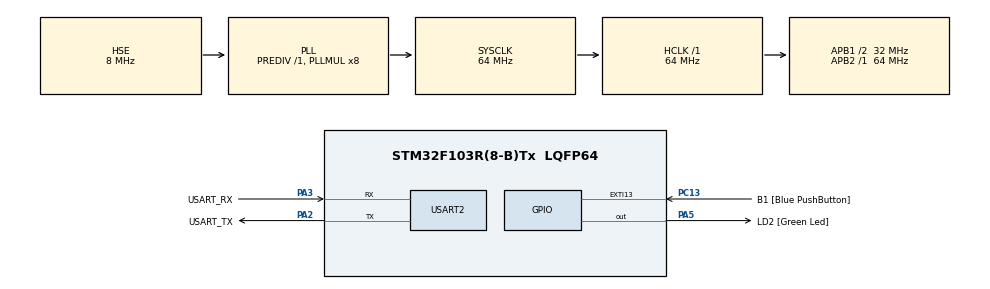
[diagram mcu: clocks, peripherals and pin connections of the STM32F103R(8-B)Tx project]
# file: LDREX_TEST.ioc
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Mcu.Family=STM32F1
Mcu.Name=STM32F103R(8-B)Tx
Mcu.Package=LQFP64
NVIC.EXTI15_10_IRQn=true\:0\:0\:false\:false\:true\:true\:true
NVIC.PriorityGroup=NVIC_PRIORITYGROUP_4
NVIC.TIM4_IRQn=true\:1\:0\:true\:false\:true\:true\:true
PA13.GPIO_Label=TMS
PA13.Mode=Serial_Wire
PA13.Signal=SYS_JTMS-SWDIO
PA14.GPIO_Label=TCK
PA14.Mode=Serial_Wire
PA14.Signal=SYS_JTCK-SWCLK
PA2.GPIO_Label=USART_TX
PA2.GPIO_Mode=GPIO_MODE_AF_PP
PA2.GPIO_PuPd=GPIO_NOPULL
PA2.GPIO_Speed=GPIO_SPEED_FREQ_LOW
PA2.Mode=Asynchronous
PA2.Signal=USART2_TX
PA3.GPIO_Label=USART_RX
PA3.GPIO_Mode=GPIO_MODE_AF_PP
PA3.GPIO_PuPd=GPIO_NOPULL
PA3.GPIO_Speed=GPIO_SPEED_FREQ_LOW
PA3.Mode=Asynchronous
PA3.Signal=USART2_RX
PA5.GPIO_Label=LD2 [Green Led]
PA5.GPIO_ModeDefaultOutputPP=GPIO_MODE_OUTPUT_PP
PA5.GPIO_PuPd=GPIO_NOPULL
PA5.GPIO_Speed=GPIO_SPEED_FREQ_LOW
PA5.Signal=GPIO_Output
PB3.GPIO_Label=SWO
PB3.Signal=SYS_JTDO-TRACESWO
PC13-TAMPER-RTC.GPIO_Label=B1 [Blue PushButton]
PC13-TAMPER-RTC.GPIO_PuPd=GPIO_NOPULL
PC13-TAMPER-RTC.Signal=GPXTI13
PC14-OSC32_IN.Mode=LSE-External-Oscillator
PC14-OSC32_IN.Signal=RCC_OSC32_IN
PC15-OSC32_OUT.Mode=LSE-External-Oscillator
PC15-OSC32_OUT.Signal=RCC_OSC32_OUT
PD0-OSC_IN.Mode=HSE-External-Clock-Source
PD0-OSC_IN.Signal=RCC_OSC_IN
PD1-OSC_OUT.Mode=HSE-External-Clock-Source
PD1-OSC_OUT.Signal=RCC_OSC_OUT
ProjectManager.HeapSize=0x200
ProjectManager.StackSize=0x400
ProjectManager.TargetToolchain=MDK-ARM V5.27
RCC.AHBFreq_Value=64000000
RCC.APB1CLKDivider=RCC_HCLK_DIV2
RCC.APB1Freq_Value=32000000
RCC.APB1TimFreq_Value=64000000
RCC.APB2Freq_Value=64000000
RCC.APB2TimFreq_Value=64000000
RCC.HCLKFreq_Value=64000000
RCC.PLLMUL=RCC_PLL_MUL8
RCC.PLLSourceVirtual=RCC_PLLSOURCE_HSE
RCC.RTCClockSelection=RCC_RTCCLKSOURCE_LSE
RCC.SYSCLKFreq_VALUE=64000000
RCC.SYSCLKSource=RCC_SYSCLKSOURCE_PLLCLK
RCC.USBFreq_Value=64000000
TIM4.AutoReloadPreload=TIM_AUTORELOAD_PRELOAD_ENABLE
TIM4.Period=4
TIM4.Prescaler=63
USART2.VirtualMode=VM_ASYNC
VP_TIM4_VS_ClockSourceINT.Mode=Internal
board=NUCLEO-F103RB

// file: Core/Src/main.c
/* USER CODE BEGIN Header */
/**
  ******************************************************************************
  * @file           : main.c
  * @brief          : Main program body
  ******************************************************************************
  * @attention
  *
  * <h2><center>&copy; Copyright (c) 2022 STMicroelectronics.
  * All rights reserved.</center></h2>
  *
  * This software component is licensed by ST under BSD 3-Clause license,
  * the "License"; You may not use this file except in compliance with the
  * License. You may obtain a copy of the License at:
  *                        opensource.org/licenses/BSD-3-Clause
  *
  ******************************************************************************
  */
/* USER CODE END Header */
#include "main.h"
#include "tim.h"
#include "usart.h"
#include "gpio.h"

/* USER CODE BEGIN Includes */
#include "string.h"
/* USER CODE END Includes */

/* USER CODE BEGIN PV */

uint8_t Sys_Lock = UNLOCKED;
uint32_t Test_Value = 2*TEST_COUNT;
uint32_t Main_Cnt = 0;
uint32_t Isr_Cnt = 0;

/* USER CODE END PV */

void SystemClock_Config(void);
/* USER CODE BEGIN PFP */

uint8_t Sys_IsLocked(volatile uint8_t* lock)
{
   return __LDREXB(lock);
}

uint8_t Sys_GetLock(volatile uint8_t* lock, uint32_t timeout_ms)
{
    uint32_t st_ms = HAL_GetTick();
    int status;
    do {
        if((HAL_GetTick() - st_ms) > timeout_ms)
            return 0;
        status = __LDREXB(lock);
    } while(status == LOCKED || __STREXB(LOCKED, lock) );
    return 1;
}

/**
 * @brief       ???0.7us
 *
 * @param       lock
 * @return      uint8_t
 */
uint8_t Sys_GetLockOnce(volatile uint8_t* lock)
{
    int status = __LDREXB(lock);
    if(status == LOCKED)
        return 0;
    return(! __STREXB(LOCKED, lock) );
}

void Sys_FreeLock(volatile uint8_t* lock)
{
    *lock = UNLOCKED;
}

/* USER CODE END PFP */

int main(void)
{

  /* MCU Configuration--------------------------------------------------------*/

  /* Reset of all peripherals, Initializes the Flash interface and the Systick. */
  HAL_Init();

  /* Configure the system clock */
  SystemClock_Config();

  /* Initialize all configured peripherals */
  MX_GPIO_Init();
  MX_USART2_UART_Init();
  MX_TIM4_Init();
  /* USER CODE BEGIN 2 */
  HAL_TIM_Base_Start_IT(&htim4);
  /* USER CODE END 2 */

  /* Infinite loop */
  while (1)
  {

    /* USER CODE BEGIN 3 */

   // Test 1, Normal Access
//     if( Main_Cnt < TEST_COUNT )
// 	{
// 		Test_Value ++;
// 		Main_Cnt++;
// 	}
// 	else
// 	{
// 		char buf[30];
// 		memset(buf, '\0', 30);
// 		sprintf(buf, "%d Test_cnt:%ld\r\n", HAL_GetTick(), Test_Value);
// 		HAL_UART_Transmit(&huart2, (uint8_t *)buf, strlen(buf), 100);
// 		HAL_Delay(20000000);
// 		Test_Value = 0;
// 	}
// 	// delay
// 	uint8_t del_cnt = 10;
// 	while(del_cnt--) ;

    // Test 2, Mutual Exclusive Access
	if(Sys_GetLockOnce(&Sys_Lock))
    {
		if( Main_Cnt < TEST_COUNT )
		{
			Test_Value ++;
			Main_Cnt++;
		}
		else
		{
			char buf[30];
			memset(buf, '\0', 30);
			sprintf(buf, "%d Test_cnt:%ld\r\n", HAL_GetTick(), Test_Value);
			HAL_UART_Transmit(&huart2, (uint8_t *)buf, strlen(buf), 100);
			HAL_Delay(20000000);
			Test_Value = 0;
		}
		Sys_FreeLock(&Sys_Lock);
    }
	uint8_t del_cnt = 10;
	while(del_cnt--) ;
  }
  /* USER CODE END 3 */
}

void SystemClock_Config(void)
{
  RCC_OscInitTypeDef RCC_OscInitStruct = {0};
  RCC_ClkInitTypeDef RCC_ClkInitStruct = {0};

  /** Initializes the RCC Oscillators according to the specified parameters
  * in the RCC_OscInitTypeDef structure.
  */
  RCC_OscInitStruct.OscillatorType = RCC_OSCILLATORTYPE_HSE;
  RCC_OscInitStruct.HSEState = RCC_HSE_BYPASS;
  RCC_OscInitStruct.HSEPredivValue = RCC_HSE_PREDIV_DIV1;
  RCC_OscInitStruct.HSIState = RCC_HSI_ON;
  RCC_OscInitStruct.PLL.PLLState = RCC_PLL_ON;
  RCC_OscInitStruct.PLL.PLLSource = RCC_PLLSOURCE_HSE;
  RCC_OscInitStruct.PLL.PLLMUL = RCC_PLL_MUL8;
  if (HAL_RCC_OscConfig(&RCC_OscInitStruct) != HAL_OK)
  {
    Error_Handler();
  }
  /** Initializes the CPU, AHB and APB buses clocks
  */
  RCC_ClkInitStruct.ClockType = RCC_CLOCKTYPE_HCLK|RCC_CLOCKTYPE_SYSCLK
                              |RCC_CLOCKTYPE_PCLK1|RCC_CLOCKTYPE_PCLK2;
  RCC_ClkInitStruct.SYSCLKSource = RCC_SYSCLKSOURCE_PLLCLK;
  RCC_ClkInitStruct.AHBCLKDivider = RCC_SYSCLK_DIV1;
  RCC_ClkInitStruct.APB1CLKDivider = RCC_HCLK_DIV2;
  RCC_ClkInitStruct.APB2CLKDivider = RCC_HCLK_DIV1;

  if (HAL_RCC_ClockConfig(&RCC_ClkInitStruct, FLASH_LATENCY_2) != HAL_OK)
  {
    Error_Handler();
  }
}

void Error_Handler(void)
{
  __disable_irq();
  while (1)
  {
  }
}

/************************ (C) COPYRIGHT STMicroelectronics *****END OF FILE****/
